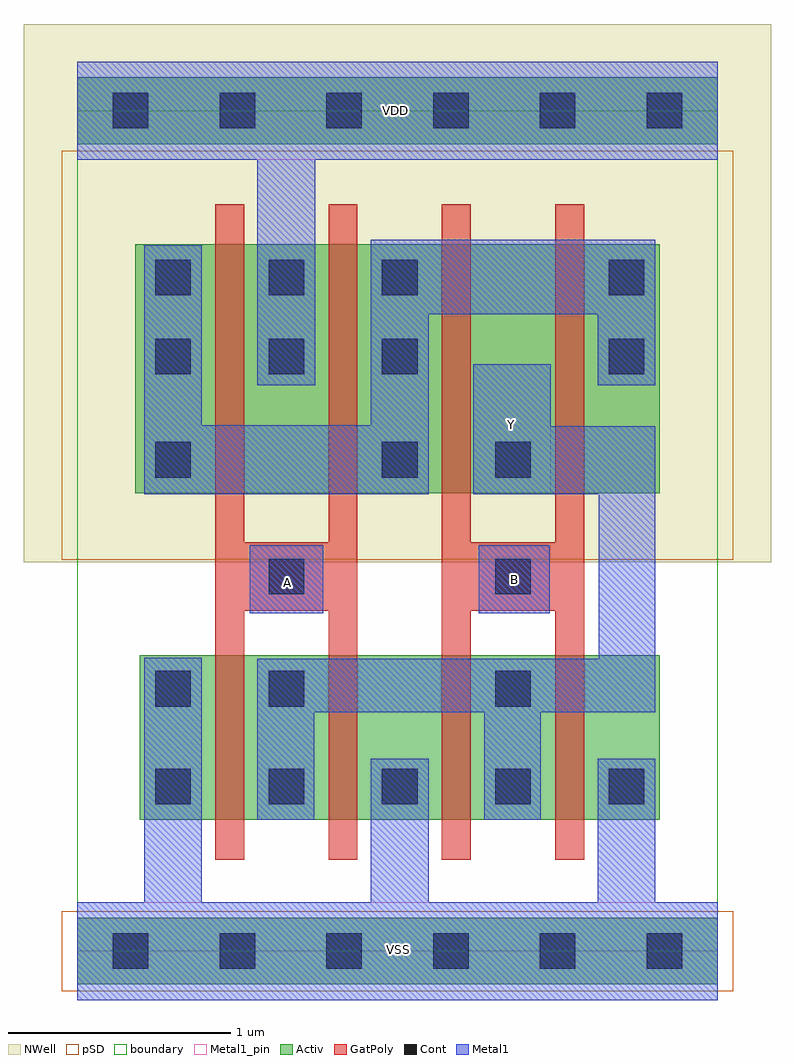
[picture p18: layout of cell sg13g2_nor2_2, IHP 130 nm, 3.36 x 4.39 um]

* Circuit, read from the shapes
.subckt sg13g2_nor2_2 A B VDD VSS Y
XM1 Y A VSS VSS sg13_lv_nmos w=0.74u l=0.13u m=2
XM2 Y B VSS VSS sg13_lv_nmos w=0.74u l=0.13u m=2
XM3 VDD A n1 VDD sg13_lv_pmos w=1.12u l=0.13u m=2
XM4 Y B n1 VDD sg13_lv_pmos w=1.12u l=0.13u m=2
.ends

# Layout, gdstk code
import gdstk
lib = gdstk.Library(unit=1e-6, precision=1e-09)
def R(c, l, rs):  # rectangles x0, y0, x1, y1
    for r in rs: c.add(gdstk.rectangle(r[:2], r[2:], *l))
def P(c, l, *ps):  # polygons
    for p in ps: c.add(gdstk.Polygon(p, *l))
Activ = (1, 0)
GatPoly = (5, 0)
Cont = (6, 0)
Metal1 = (8, 0)
Metal1_pin = (8, 2)
pSD = (14, 0)
NWell = (31, 0)
boundary = (189, 4)

sg13g2_nor2_2 = lib.new_cell('sg13g2_nor2_2')
R(sg13g2_nor2_2, Activ, [(0,-0.15,2.88,0.15), (0.28,0.59,2.62,1.33), (0.26,2.06,2.62,3.18), (0,3.63,2.88,3.93)])
P(sg13g2_nor2_2, GatPoly, [(2.28,3.36),(2.15,3.36),(2.15,1.84),(1.77,1.84),(1.77,3.36),(1.64,3.36),(1.64,0.41),(1.77,0.41),(1.77,1.53),(2.15,1.53),(2.15,0.41),(2.28,0.41)],
  [(1.26,3.36),(1.13,3.36),(1.13,1.84),(0.75,1.84),(0.75,3.36),(0.62,3.36),(0.62,0.41),(0.75,0.41),(0.75,1.53),(1.13,1.53),(1.13,0.41),(1.26,0.41)])
R(sg13g2_nor2_2, Cont, [(0.16,-0.08,0.32,0.08), (0.16,-0.08,0.32,0.08), (0.16,-0.08,0.32,0.08), (0.16,-0.08,0.32,0.08), (0.64,-0.08,0.8,0.08), (0.64,-0.08,0.8,0.08), (0.64,-0.08,0.8,0.08), (0.64,-0.08,0.8,0.08), (1.12,-0.08,1.28,0.08), (1.12,-0.08,1.28,0.08), (1.12,-0.08,1.28,0.08), (1.12,-0.08,1.28,0.08), (1.6,-0.08,1.76,0.08), (1.6,-0.08,1.76,0.08), (1.6,-0.08,1.76,0.08), (1.6,-0.08,1.76,0.08), (2.08,-0.08,2.24,0.08), (2.08,-0.08,2.24,0.08), (2.08,-0.08,2.24,0.08), (2.08,-0.08,2.24,0.08), (2.56,-0.08,2.72,0.08), (2.56,-0.08,2.72,0.08), (2.56,-0.08,2.72,0.08), (2.56,-0.08,2.72,0.08), (0.35,0.66,0.51,0.82), (0.35,0.66,0.51,0.82), (0.35,0.66,0.51,0.82), (0.86,0.66,1.02,0.82), (0.86,0.66,1.02,0.82), (1.37,0.66,1.53,0.82), (1.37,0.66,1.53,0.82), (1.37,0.66,1.53,0.82), (1.88,0.66,2.04,0.82), (1.88,0.66,2.04,0.82), (2.39,0.66,2.55,0.82), (2.39,0.66,2.55,0.82), (2.39,0.66,2.55,0.82), (0.35,1.1,0.51,1.26), (0.35,1.1,0.51,1.26), (0.35,1.1,0.51,1.26), (0.86,1.1,1.02,1.26), (0.86,1.1,1.02,1.26), (0.86,1.1,1.02,1.26), (1.88,1.1,2.04,1.26), (1.88,1.1,2.04,1.26), (1.88,1.1,2.04,1.26), (0.86,1.605,1.02,1.765), (0.86,1.605,1.02,1.765), (0.86,1.605,1.02,1.765), (1.88,1.605,2.04,1.765), (1.88,1.605,2.04,1.765), (1.88,1.605,2.04,1.765), (0.35,2.13,0.51,2.29), (0.35,2.13,0.51,2.29), (0.35,2.13,0.51,2.29), (1.37,2.13,1.53,2.29), (1.37,2.13,1.53,2.29), (1.37,2.13,1.53,2.29), (1.88,2.13,2.04,2.29), (1.88,2.13,2.04,2.29), (1.88,2.13,2.04,2.29), (0.35,2.595,0.51,2.755), (0.35,2.595,0.51,2.755), (0.86,2.595,1.02,2.755), (0.86,2.595,1.02,2.755), (1.37,2.595,1.53,2.755), (1.37,2.595,1.53,2.755), (2.39,2.595,2.55,2.755), (2.39,2.595,2.55,2.755), (0.35,2.95,0.51,3.11), (0.35,2.95,0.51,3.11), (0.35,2.95,0.51,3.11), (0.86,2.95,1.02,3.11), (0.86,2.95,1.02,3.11), (0.86,2.95,1.02,3.11), (1.37,2.95,1.53,3.11), (1.37,2.95,1.53,3.11), (1.37,2.95,1.53,3.11), (2.39,2.95,2.55,3.11), (2.39,2.95,2.55,3.11), (2.39,2.95,2.55,3.11), (0.16,3.7,0.32,3.86), (0.16,3.7,0.32,3.86), (0.16,3.7,0.32,3.86), (0.16,3.7,0.32,3.86), (0.64,3.7,0.8,3.86), (0.64,3.7,0.8,3.86), (0.64,3.7,0.8,3.86), (0.64,3.7,0.8,3.86), (1.12,3.7,1.28,3.86), (1.12,3.7,1.28,3.86), (1.12,3.7,1.28,3.86), (1.12,3.7,1.28,3.86), (1.6,3.7,1.76,3.86), (1.6,3.7,1.76,3.86), (1.6,3.7,1.76,3.86), (1.6,3.7,1.76,3.86), (2.08,3.7,2.24,3.86), (2.08,3.7,2.24,3.86), (2.08,3.7,2.24,3.86), (2.08,3.7,2.24,3.86), (2.56,3.7,2.72,3.86), (2.56,3.7,2.72,3.86), (2.56,3.7,2.72,3.86), (2.56,3.7,2.72,3.86)])
R(sg13g2_nor2_2, Metal1, [(0.775,1.52,1.105,1.825), (1.805,1.52,2.125,1.825)])
P(sg13g2_nor2_2, Metal1, [(2.6,2.36),(2.13,2.36),(2.13,2.64),(1.78,2.64),(1.78,2.055),(2.345,2.055),(2.345,1.315),(0.81,1.315),(0.81,0.59),(1.065,0.59),(1.065,1.075),(1.83,1.075),(1.83,0.59),(2.085,0.59),(2.085,1.075),(2.6,1.075)],
  [(2.6,3.2),(1.32,3.2),(1.32,2.365),(0.56,2.365),(0.56,3.175),(0.3,3.175),(0.3,2.055),(1.58,2.055),(1.58,2.865),(2.34,2.865),(2.34,2.545),(2.6,2.545)],
  [(0,3.56),(0,4),(2.88,4),(2.88,3.56),(1.07,3.56),(1.07,2.545),(0.81,2.545),(0.81,3.56)],
  [(2.88,0.22),(2.6,0.22),(2.6,0.865),(2.34,0.865),(2.34,0.22),(1.58,0.22),(1.58,0.865),(1.32,0.865),(1.32,0.22),(0.56,0.22),(0.56,1.32),(0.3,1.32),(0.3,0.22),(0,0.22),(0,-0.22),(2.88,-0.22)])
R(sg13g2_nor2_2, Metal1_pin, [(0,-0.22,2.88,0.22), (0.775,1.52,1.105,1.825), (1.805,1.52,2.125,1.825), (1.78,2.055,2.13,2.64), (0,3.56,2.88,4)])
R(sg13g2_nor2_2, pSD, [(-0.07,-0.18,2.95,0.18), (-0.07,1.76,2.95,3.6)])
R(sg13g2_nor2_2, NWell, [(-0.24,1.75,3.12,4.17)])
R(sg13g2_nor2_2, boundary, [(0,0,2.88,3.78)])
sg13g2_nor2_2.add(gdstk.Label('A', (0.945,1.66), layer=8, texttype=25))
sg13g2_nor2_2.add(gdstk.Label('VDD', (1.43,3.78), layer=8, texttype=25))
sg13g2_nor2_2.add(gdstk.Label('Y', (1.955,2.37), layer=8, texttype=25))
sg13g2_nor2_2.add(gdstk.Label('VSS', (1.445,0.005), layer=8, texttype=25))
sg13g2_nor2_2.add(gdstk.Label('B', (1.965,1.67), layer=8, texttype=25))

lib.write_gds('sg13g2_nor2_2.gds')
